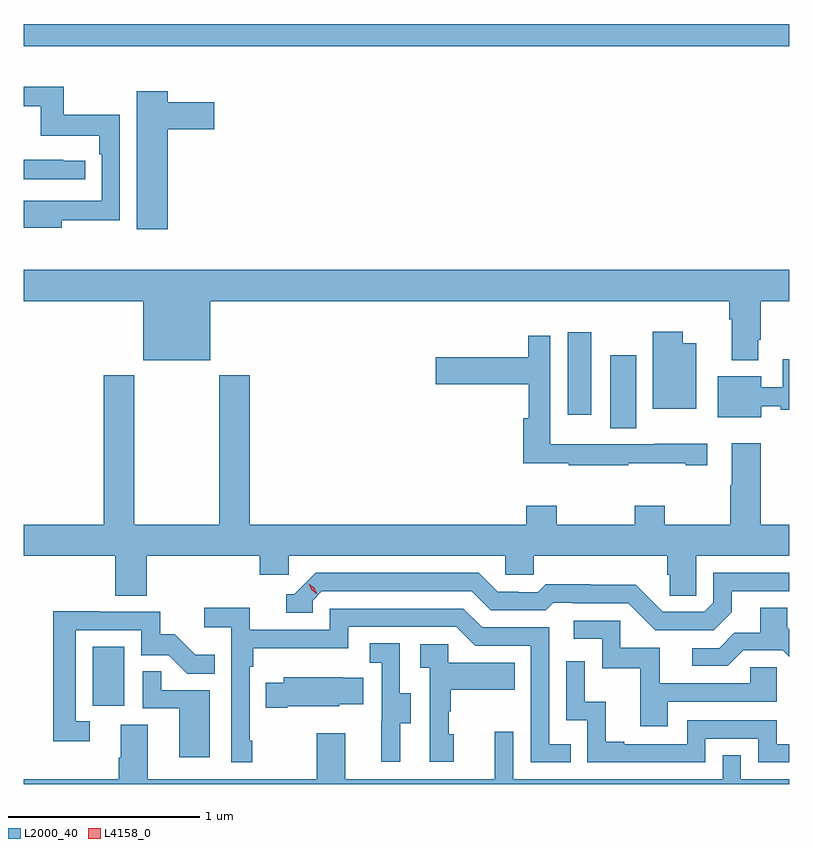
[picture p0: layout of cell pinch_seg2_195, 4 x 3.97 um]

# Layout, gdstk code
import gdstk
lib = gdstk.Library(unit=1e-6, precision=1e-09)
def R(c, l, rs):  # rectangles x0, y0, x1, y1
    for r in rs: c.add(gdstk.rectangle(r[:2], r[2:], *l))
def P(c, l, *ps):  # polygons
    for p in ps: c.add(gdstk.Polygon(p, *l))
L2000_40 = (2000, 40)
L4158_0 = (4158, 0)

pinch_seg2_195 = lib.new_cell('pinch_seg2_195')
R(pinch_seg2_195, L2000_40, [(956.972,662.838,957.136,663.145), (959.678,664.288,959.812,664.669), (959.456,664.359,959.578,664.789), (956.612,666.284,960.612,666.4)])
P(pinch_seg2_195, L2000_40, [(956.809,665.374),(957.114,665.374),(957.114,665.926),(956.821,665.926),(956.821,666.072),(956.612,666.072),(956.612,665.971),(956.7,665.971),(956.7,665.816),(957.005,665.816),(957.005,665.72),(957.018,665.72),(957.018,665.475),(956.705,665.475),(956.705,665.476),(956.612,665.476),(956.612,665.336),(956.809,665.336)],
  [(957.364,665.849),(957.607,665.849),(957.607,665.991),(957.364,665.991),(957.364,666.049),(957.203,666.049),(957.203,665.328),(957.364,665.328)],
  [(956.932,665.685),(956.819,665.685),(956.819,665.69),(956.612,665.69),(956.612,665.589),(956.932,665.589)],
  [(957.586,664.952),(960.299,664.952),(960.299,664.856),(960.311,664.856),(960.311,664.643),(960.451,664.643),(960.451,664.75),(960.464,664.75),(960.464,664.952),(960.612,664.952),(960.612,665.116),(956.612,665.116),(956.612,664.952),(957.236,664.952),(957.236,664.643),(957.586,664.643)],
  [(960.127,664.732),(960.055,664.732),(960.055,664.792),(959.9,664.792),(959.9,664.388),(960.127,664.388)],
  [(959.771,664.105),(960.071,664.105),(960.071,664.095),(960.184,664.095),(960.184,664.205),(959.908,664.205),(959.908,664.203),(959.574,664.203),(959.574,664.204),(959.364,664.204),(959.364,664.771),(959.248,664.771),(959.248,664.659),(958.764,664.659),(958.764,664.517),(959.252,664.517),(959.252,664.339),(959.222,664.339),(959.222,664.105),(959.461,664.105),(959.461,664.095),(959.771,664.095)],
  [(960.466,664.403),(960.567,664.403),(960.567,664.384),(960.612,664.384),(960.612,664.647),(960.579,664.647),(960.579,664.501),(960.466,664.501),(960.466,664.558),(960.239,664.558),(960.239,664.346),(960.466,664.346)],
  [(957.254,663.62),(957.845,663.62),(957.845,663.522),(957.996,663.522),(957.996,663.62),(959.127,663.62),(959.127,663.522),(959.277,663.522),(959.277,663.62),(959.975,663.62),(959.975,663.522),(959.989,663.522),(959.989,663.412),(960.126,663.412),(960.126,663.62),(960.612,663.62),(960.612,663.784),(960.464,663.784),(960.464,664.21),(960.311,664.21),(960.311,663.989),(960.304,663.989),(960.304,663.784),(959.961,663.784),(959.961,663.883),(959.806,663.883),(959.806,663.784),(959.397,663.784),(959.397,663.883),(959.237,663.883),(959.237,663.784),(957.794,663.784),(957.794,664.564),(957.634,664.564),(957.634,663.784),(957.189,663.784),(957.189,664.564),(957.029,664.564),(957.029,663.784),(956.612,663.784),(956.612,663.62),(957.089,663.62),(957.089,663.412),(957.254,663.412)],
  [(960.313,663.325),(960.313,663.435),(960.612,663.435),(960.612,663.531),(960.216,663.531),(960.216,663.375),(960.168,663.327),(959.952,663.327),(959.81,663.469),(959.574,663.469),(959.574,663.472),(959.341,663.472),(959.299,663.429),(959.196,663.429),(959.196,663.432),(959.089,663.432),(958.99,663.531),(958.137,663.531),(958.026,663.42),(957.983,663.42),(957.983,663.324),(958.122,663.324),(958.122,663.387),(958.17,663.435),(958.953,663.435),(959.052,663.336),(959.341,663.336),(959.38,663.375),(959.479,663.375),(959.479,663.372),(959.772,663.372),(959.913,663.231),(960.219,663.231)],
  [(957.805,662.653),(957.792,662.653),(957.792,663.041),(957.812,663.041),(957.812,663.137),(958.308,663.137),(958.308,663.249),(958.872,663.249),(958.971,663.15),(959.262,663.15),(959.262,662.541),(959.471,662.541),(959.471,662.637),(959.358,662.637),(959.358,663.246),(959.008,663.246),(958.909,663.345),(958.212,663.345),(958.212,663.234),(957.794,663.234),(957.794,663.35),(957.555,663.35),(957.555,663.248),(957.696,663.248),(957.696,662.541),(957.805,662.541)],
  [(960.373,663.126),(960.579,663.126),(960.612,663.093),(960.612,663.237),(960.601,663.248),(960.601,663.35),(960.461,663.35),(960.461,663.218),(960.326,663.218),(960.246,663.138),(960.105,663.138),(960.105,663.045),(960.292,663.045)],
  [(956.956,662.757),(956.883,662.757),(956.883,663.231),(957.225,663.231),(957.225,663.102),(957.369,663.102),(957.467,663.004),(957.611,663.004),(957.611,663.103),(957.507,663.103),(957.4,663.21),(957.324,663.21),(957.324,663.327),(957.005,663.327),(957.005,663.332),(956.767,663.332),(956.767,662.652),(956.956,662.652)],
  [(959.977,662.859),(960.546,662.859),(960.546,663.039),(960.409,663.039),(960.409,662.955),(959.935,662.955),(959.935,663.141),(959.73,663.141),(959.73,663.282),(959.487,663.282),(959.487,663.186),(959.634,663.186),(959.634,663.033),(959.833,663.033),(959.833,662.73),(959.977,662.73)],
  [(958.579,662.746),(958.633,662.746),(958.633,662.901),(958.578,662.901),(958.578,663.164),(958.419,663.164),(958.419,663.061),(958.482,663.061),(958.482,662.757),(958.481,662.757),(958.481,662.544),(958.579,662.544)],
  [(958.858,662.688),(958.833,662.688),(958.833,662.807),(958.843,662.807),(958.843,662.921),(959.177,662.921),(959.177,663.061),(958.83,663.061),(958.83,663.159),(958.683,663.159),(958.683,663.035),(958.734,663.035),(958.734,662.544),(958.858,662.544)],
  [(960.174,662.664),(960.45,662.664),(960.45,662.541),(960.612,662.541),(960.612,662.637),(960.546,662.637),(960.546,662.76),(960.078,662.76),(960.078,662.637),(959.749,662.637),(959.749,662.65),(959.654,662.65),(959.654,662.858),(959.544,662.858),(959.544,663.07),(959.448,663.07),(959.448,662.76),(959.556,662.76),(959.556,662.541),(960.174,662.541)],
  [(957.583,662.919),(957.329,662.919),(957.329,663.017),(957.234,663.017),(957.234,662.823),(957.425,662.823),(957.425,662.568),(957.583,662.568)],
  [(957.988,662.834),(958.26,662.834),(958.26,662.846),(958.385,662.846),(958.385,662.983),(958.277,662.983),(958.277,662.986),(957.971,662.986),(957.971,662.956),(957.877,662.956),(957.877,662.827),(957.988,662.827)],
  [(960.612,662.452),(960.36,662.452),(960.36,662.579),(960.264,662.579),(960.264,662.452),(959.169,662.452),(959.169,662.701),(959.072,662.701),(959.072,662.452),(958.291,662.452),(958.291,662.692),(958.144,662.692),(958.144,662.452),(957.259,662.452),(957.259,662.738),(957.119,662.738),(957.119,662.564),(957.107,662.564),(957.107,662.452),(956.612,662.452),(956.612,662.428),(960.612,662.428)])
P(pinch_seg2_195, L4158_0, [(958.146,663.421),(958.116,663.441),(958.1,663.474),(958.1,663.474),(958.1,663.474),(958.131,663.454),(958.146,663.422),(958.146,663.421)])

lib.write_gds('pinch_seg2_195.gds')
